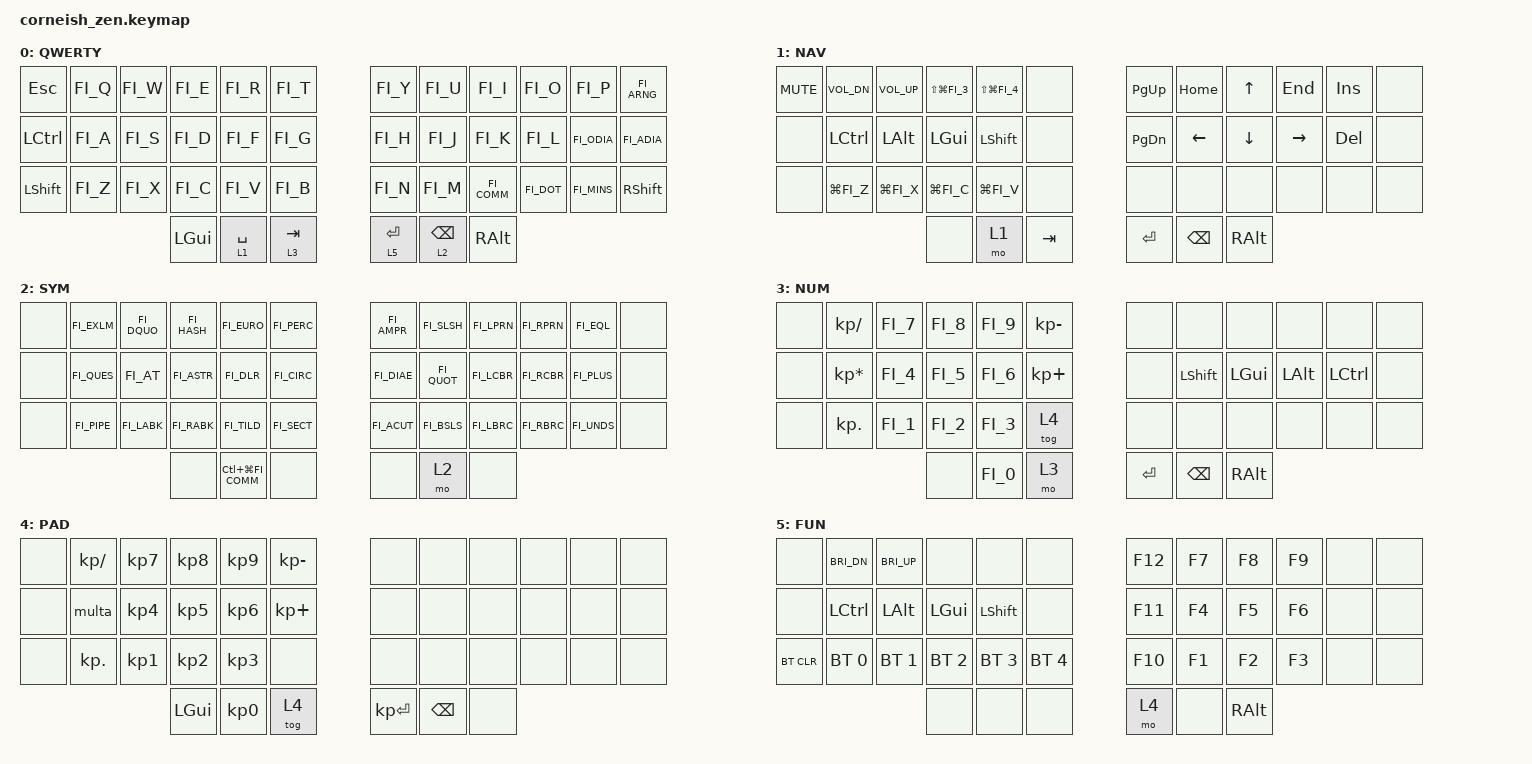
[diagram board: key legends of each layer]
#include <behaviors.dtsi>
#include <dt-bindings/zmk/keys.h>
#include <dt-bindings/zmk/bt.h>
#include "keys_fi_mac.h"

/ {
  chosen {
    zmk,matrix_transform = &default_transform;
    //zmk,matrix_transform = &five_column_transform;
  };
};

/ {
  behaviors {
    multa: multiply_select_all {
      compatible = "zmk,behavior-mod-morph";
      #binding-cells = <0>;
      bindings = <&kp KP_MULTIPLY>, <&kp FI_A>;
      mods = <(MOD_LGUI)>;
      keep-mods = <(MOD_LGUI)>;
    };
  };
};

/ {
        keymap {
                compatible = "zmk,keymap";

                default_layer {
                        label = "QWERTY";
// -----------------------------------------------------------------------------------------
// |  ESC |  Q  |  W  |  E  |  R  |  T  |   |  Y  |  U  |  I  |  O  |  P  |  Å   |
// | CTRL |  A  |  S  |  D  |  F  |  G  |   |  H  |  J  |  K  |  L  |  Ö  |  Ä   |
// | SHFT |  Z  |  X  |  C  |  V  |  B  |   |  N  |  M  |  ,  |  .  |  -  | SHFT |
//                    | GUI |␣/NAV|↹/NUM|   |↩/FUN|⌫/SYM|ALTGR|
                        bindings = <
   &kp ESC   &kp FI_Q &kp FI_W &kp FI_E &kp FI_R &kp FI_T   &kp FI_Y &kp FI_U &kp FI_I    &kp FI_O   &kp FI_P    &kp FI_ARNG
   &kp LCTRL &kp FI_A &kp FI_S &kp FI_D &kp FI_F &kp FI_G   &kp FI_H &kp FI_J &kp FI_K    &kp FI_L   &kp FI_ODIA &kp FI_ADIA
   &kp LSHFT &kp FI_Z &kp FI_X &kp FI_C &kp FI_V &kp FI_B   &kp FI_N &kp FI_M &kp FI_COMM &kp FI_DOT &kp FI_MINS &kp RSHFT
                           &kp LGUI &lt 1 SPACE &lt 3 TAB   &lt 5 RET &lt 2 BSPC &kp RALT
                        >;
                };

                nav_layer {
                        label = "NAV";
// -----------------------------------------------------------------------------------------
// | MUTE |VOL- |VOL+ |SS-3 |SS-4 |     |   | PGUP| HOME|  UP | END | INS |      |
// |      |CTRL | ALT | GUI |SHFT |     |   | PGDN| LEFT| DOWN| RGHT| DEL |      |
// |      |UNDO | CUT |COPY |PSTE |     |   |     |     |     |     |     |      |
//                    |     |(NAV)|  ↹  |   |  ↩  |  ⌫  |ALTGR|
                        bindings = <
   &kp C_MUTE &kp C_VOL_DN &kp C_VOL_UP &kp LS(LG(FI_3)) &kp LS(LG(FI_4)) &none   &kp PG_UP &kp HOME &kp UP   &kp END   &kp INS &none
   &none      &kp LCTRL    &kp LALT     &kp LGUI         &kp LSHFT        &none   &kp PG_DN &kp LEFT &kp DOWN &kp RIGHT &kp DEL &none
   &none      &kp LG(FI_Z) &kp LG(FI_X) &kp LG(FI_C)     &kp LG(FI_V)     &none   &none     &none    &none    &none     &none   &none
                                                            &none &mo 1 &kp TAB   &kp RET &kp BSPC &kp RALT
                        >;
                };

                sym_layer {
                        label = "SYM";
// -----------------------------------------------------------------------------------------
// |      |  !  |  "  |  #  |  €  |  %  |   |  &  |  /  |  (  |  )  |  =  |      |
// |      |  ?  |  @  |  *  |  $  |  ^  |   |  ¨  |  '  |  {  |  }  |  +  |      |
// |      | "|" |  <  |  >  |  ~  |  §  |   |  ´  |  \  |  [  |  ]  |  _  |      |
//                    |     |TYPE |     |   |     |(SYM)|     |
                        bindings = <
   &none &kp FI_EXLM &kp FI_DQUO &kp FI_HASH &kp FI_EURO &kp FI_PERC   &kp FI_AMPR &kp FI_SLSH &kp FI_LPRN &kp FI_RPRN &kp FI_EQL  &none
   &none &kp FI_QUES &kp FI_AT   &kp FI_ASTR &kp FI_DLR  &kp FI_CIRC   &kp FI_DIAE &kp FI_QUOT &kp FI_LCBR &kp FI_RCBR &kp FI_PLUS &none
   &none &kp FI_PIPE &kp FI_LABK &kp FI_RABK &kp FI_TILD &kp FI_SECT   &kp FI_ACUT &kp FI_BSLS &kp FI_LBRC &kp FI_RBRC &kp FI_UNDS &none
                    	             &none &kp LC(LG(FI_COMM)) &none   &none &mo 2 &none
                        >;
                };

                num_layer {
                        label = "NUM";
// -----------------------------------------------------------------------------------------
// |      |  /  |  7  |  8  |  9  |  -  |   |     |     |     |     |     |      |
// |      |  *  |  4  |  5  |  6  |  +  |   |     | SHFT| GUI | ALT | CTRL|      |
// |      |  ,  |  1  |  2  |  3  |(PAD)|   |     |     |     |     |     |      |
//                    |     |  0  |(NUM)|   |  ↩  |  ⌫  |ALTGR|
                        bindings = <
   &none &kp KP_DIVIDE   &kp FI_7 &kp FI_8 &kp FI_9 &kp KP_MINUS   &none &none     &none    &none    &none     &none
   &none &kp KP_MULTIPLY &kp FI_4 &kp FI_5 &kp FI_6 &kp KP_PLUS    &none &kp LSHFT &kp LGUI &kp LALT &kp LCTRL &none
   &none &kp KP_DOT      &kp FI_1 &kp FI_2 &kp FI_3 &tog 4         &none &none     &none    &none    &none     &none
                                            &none &kp FI_0 &mo 3   &kp RET &kp BSPC &kp RALT
                        >;
                };
  
                pad_layer {
                        label = "PAD";
// -----------------------------------------------------------------------------------------
// |      |  /  |  7  |  8  |  9  |  -  |   |     |     |     |     |     |      |
// |      |  *  |  4  |  5  |  6  |  +  |   |     |     |     |     |     |      |
// |      |  ,  |  1  |  2  |  3  |     |   |     |     |     |     |     |      |
//                    |     |  0  |(NUM)|   |  ↩  |  ⌫  |     |
                        bindings = <
   &none &kp KP_DIVIDE &kp KP_N7 &kp KP_N8 &kp KP_N9 &kp KP_MINUS   &none &none &none &none &none &none
   &none &multa        &kp KP_N4 &kp KP_N5 &kp KP_N6 &kp KP_PLUS    &none &none &none &none &none &none
   &none &kp KP_DOT    &kp KP_N1 &kp KP_N2 &kp KP_N3 &none          &none &none &none &none &none &none
                                        &kp LGUI &kp KP_N0 &tog 4   &kp KP_ENTER &kp BSPC &none
                        >;
                };
  
                fun_layer {
                        label = "FUN";
// -----------------------------------------------------------------------------------------
// |      |BRI- |BRI+ |     |     |     |   | F12 |  F7 |  F8 |  F9 |     |      |
// |      |CTRL | ALT | GUI |SHFT |     |   | F11 |  F4 |  F5 |  F6 |     |      |
// | BTCLR| BT1 | BT2 | BT3 | BT4 | BT5 |   | F10 |  F1 |  F2 |  F3 |     |      |
//                    |     |     |     |   |(FUN)|     |ALTGR|
                        bindings = <
   &none      &kp C_BRI_DN &kp C_BRI_UP &none        &none        &none          &kp F12 &kp F7 &kp F8 &kp F9 &none &none
   &none      &kp LCTRL    &kp LALT     &kp LGUI     &kp LSHFT    &none          &kp F11 &kp F4 &kp F5 &kp F6 &none &none
   &bt BT_CLR &bt BT_SEL 0 &bt BT_SEL 1 &bt BT_SEL 2 &bt BT_SEL 3 &bt BT_SEL 4   &kp F10 &kp F1 &kp F2 &kp F3 &none &none
                                                             &none &none &none   &mo 4 &none &kp RALT
                        >;
                };
        };
};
